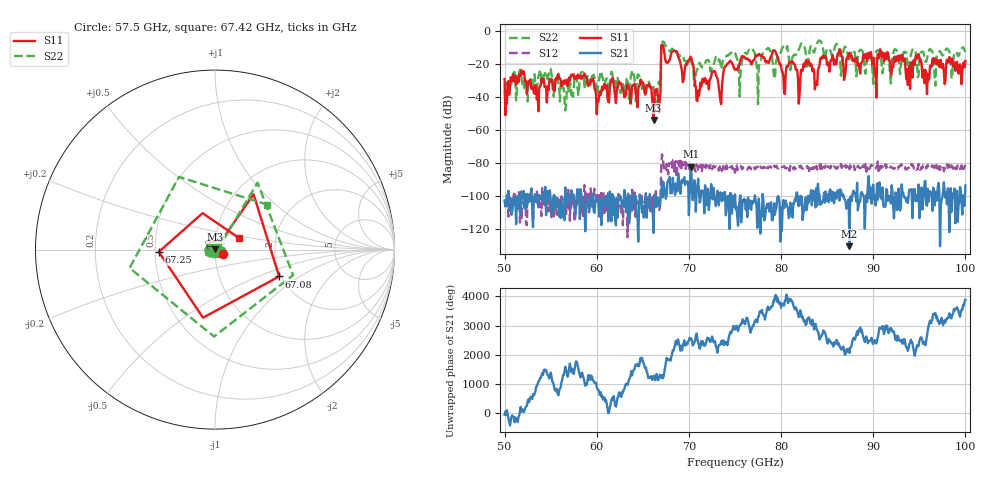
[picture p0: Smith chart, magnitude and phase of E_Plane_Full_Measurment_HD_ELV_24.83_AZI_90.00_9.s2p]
! 11/26/2026 3:18:26 PM
! C:\ANRITSUVNA\TEMP\TEMP.S2P
! CHANNEL.1
! TR.MEASUREMENT
! RAW.DATA
# HZ S RI R 50.0
! FREQ.HZ  S11RE  S11IM  S21RE  S21IM  S12RE  S12IM  S22RE  S22IM
!; PortSelection: Port_12
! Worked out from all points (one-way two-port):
!   601 points, 50 GHz to 100 GHz, reference 50 ohm
!   highest |S21| = -82.26 dB at 70.25 GHz (marker M1); lowest = -130.5 dB at 87.42 GHz (marker M2)
!   lowest |S11| = -53.9 dB at 66.17 GHz (marker M3), VSWR 1.00, Z = 50.1 + j0.149 ohm
!   |S11| at or under -10 dB: start of sweep to 67 GHz; 67.25 GHz to end of sweep
!   |S22| runs from -48.1 to -5.6 dB; largest |S21 - S12| = 0.00021
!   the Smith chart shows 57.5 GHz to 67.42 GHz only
!   S11 on the Smith chart (normalised r, x): 57.5 GHz: 1.09, -0.05; 67.08 GHz: 1.95, -0.69; 67.25 GHz: 0.52, -0.01; 67.42 GHz: 1.29, +0.17
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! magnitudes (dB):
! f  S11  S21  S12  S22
! 50 GHz  -29.0  -103.2  -101.9  -35.8
! 51.67 GHz  -26.3  -105.5  -116.1  -23.3
! 57.5 GHz  -26.2  -99.4  -102.3  -34.7
! 58.42 GHz  -27.2  -100.7  -104.1  -24.7
! 60.17 GHz  -42.8  -101.2  -99.6  -30.4
! 66.17 GHz  -53.9  -122.4  -109.4  -34.0
! 66.67 GHz  -41.5  -101.2  -105.7  -31.7
! 67.08 GHz  -8.2  -90.7  -74.7  -6.8
! 67.25 GHz  -10.1  -91.8  -81.2  -6.3
! 67.42 GHz  -16.6  -99.1  -84.6  -8.3
! 70.25 GHz  -15.9  -82.3  -83.9  -18.8
! 70.92 GHz  -42.3  -95.5  -81.9  -23.1
! 75 GHz  -23.4  -98.9  -85.9  -13.0
! 79.25 GHz  -11.5  -104.4  -81.7  -28.8
! 80.25 GHz  -27.8  -102.5  -82.2  -9.3
! 83.42 GHz  -24.4  -101.3  -82.7  -10.8
! 87.42 GHz  -13.1  -130.5  -83.8  -18.4
! 91.67 GHz  -16.6  -100.1  -81.7  -15.2
! 93.75 GHz  -32.5  -104.3  -83.0  -21.3
! 94.83 GHz  -15.1  -103.0  -83.3  -27.9
! 95.83 GHz  -38.2  -106.0  -82.8  -16.5
! 100 GHz  -18.0  -93.6  -81.1  -12.6
